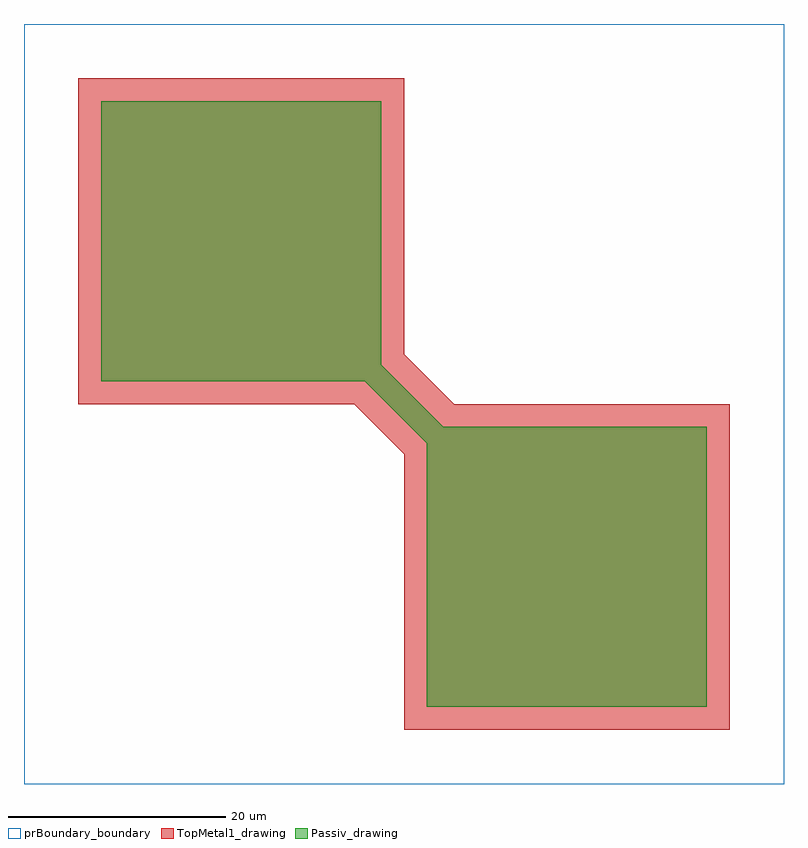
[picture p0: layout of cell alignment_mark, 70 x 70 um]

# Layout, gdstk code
import gdstk
lib = gdstk.Library(unit=1e-6, precision=1e-09)
def R(c, l, rs):  # rectangles x0, y0, x1, y1
    for r in rs: c.add(gdstk.rectangle(r[:2], r[2:], *l))
def P(c, l, *ps):  # polygons
    for p in ps: c.add(gdstk.Polygon(p, *l))
Passiv_drawing = (9, 0)
TopMetal1_drawing = (126, 0)
prBoundary_boundary = (189, 4)

alignment_mark = lib.new_cell('alignment_mark')
R(alignment_mark, Passiv_drawing, [(37.1,7.1,62.9,32.9), (7.1,37.1,32.9,62.9)])
P(alignment_mark, Passiv_drawing, [(37.1,31.4),(31.4,37.1),(32.9,38.6),(38.6,32.9)])
R(alignment_mark, TopMetal1_drawing, [(35,5,65,35), (5,35,35,65)])
P(alignment_mark, TopMetal1_drawing, [(37.1,28.3),(28.3,37.1),(32.9,41.7),(41.7,32.9)])
R(alignment_mark, prBoundary_boundary, [(0,0,70,70)])

lib.write_gds('alignment_mark.gds')
